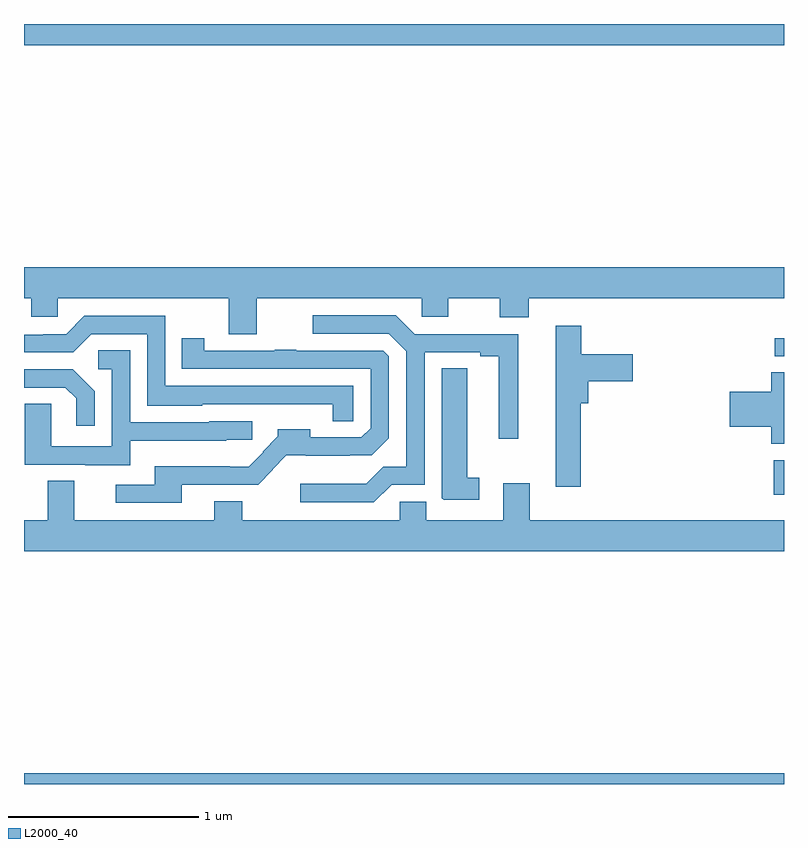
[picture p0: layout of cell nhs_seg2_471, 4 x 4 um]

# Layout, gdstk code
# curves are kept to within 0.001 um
import gdstk
lib = gdstk.Library(unit=1e-6, precision=1e-09)
def R(c, l, rs):  # rectangles x0, y0, x1, y1
    for r in rs: c.add(gdstk.rectangle(r[:2], r[2:], *l))
def P(c, l, *ps):  # polygons
    for p in ps: c.add(gdstk.Polygon(p, *l))
L2000_40 = (2000, 40)

nhs_seg2_471 = lib.new_cell('nhs_seg2_471')
R(nhs_seg2_471, L2000_40, [(135,591.8,139,591.856), (138.947,593.322,139,593.505), (138.951,594.051,139,594.147), (135,595.688,139,595.8)])
P(nhs_seg2_471, L2000_40, [(136.225,594.356),(137.094,594.356),(137.094,594.258),(137.233,594.258),(137.233,594.356),(137.504,594.356),(137.504,594.257),(137.657,594.257),(137.657,594.356),(139,594.356),(139,594.52),(135,594.52),(135,594.356),(135.039,594.356),(135.039,594.258),(135.177,594.258),(135.177,594.356),(136.078,594.356),(136.078,594.166),(136.225,594.166)],
  [(136.935,593.376),(137.109,593.376),(137.109,594.072),(137.402,594.072),(137.402,594.052),(137.498,594.052),(137.498,593.616),(137.602,593.616),(137.602,594.168),(137.056,594.168),(136.957,594.267),(136.521,594.267),(136.521,594.171),(136.92,594.171),(137.013,594.078),(137.013,593.471),(136.892,593.471),(136.801,593.38),(136.455,593.38),(136.455,593.283),(136.842,593.283)],
  [(136.734,593.895),(135.744,593.895),(135.744,594.264),(135.318,594.264),(135.222,594.168),(135.102,594.168),(135.102,594.165),(135,594.165),(135,594.072),(135.258,594.072),(135.354,594.168),(135.648,594.168),(135.648,593.792),(135.939,593.792),(135.939,593.799),(136.626,593.798),(136.626,593.71),(136.734,593.71)],
  [(137.93,593.804),(137.969,593.804),(137.969,593.921),(138.205,593.921),(138.205,594.063),(137.933,594.063),(137.933,594.211),(137.798,594.211),(137.798,593.364),(137.93,593.364)],
  [(135.829,593.376),(136.233,593.376),(136.309,593.453),(136.307,593.455),(136.381,593.529),(136.715,593.528),(136.715,593.53),(136.831,593.53),(136.92,593.619),(136.92,594.051),(136.89,594.081),(136.433,594.081),(136.433,594.086),(136.321,594.086),(136.321,594.081),(135.948,594.081),(135.948,594.145),(135.829,594.145),(135.829,593.985),(136.824,593.985),(136.824,593.673),(136.776,593.625),(136.507,593.625),(136.507,593.668),(136.336,593.668),(136.336,593.629),(136.257,593.55),(136.26,593.547),(136.184,593.471),(136.082,593.471),(136.082,593.473),(135.689,593.473),(135.689,593.376),(135.483,593.376),(135.483,593.28),(135.829,593.28)],
  [(135.559,593.606),(136.065,593.606),(136.065,593.613),(136.2,593.613),(136.2,593.709),(135.975,593.709),(135.975,593.703),(135.558,593.703),(135.558,594.083),(135.39,594.083),(135.39,593.982),(135.462,593.982),(135.462,593.577),(135.144,593.577),(135.144,593.801),(135.005,593.801),(135.005,593.481),(135.323,593.481),(135.323,593.477),(135.559,593.477)],
  [(137.395,593.411),(137.332,593.411),(137.332,593.987),(137.198,593.987),(137.198,593.305),(137.208,593.295),(137.395,593.295)],
  [(135.372,593.866),(135.256,593.982),(135,593.982),(135,593.886),(135.218,593.886),(135.275,593.829),(135.275,593.685),(135.372,593.685)],
  [(139,593.966),(138.932,593.966),(138.932,593.864),(138.714,593.864),(138.714,593.681),(138.932,593.681),(138.932,593.59),(139,593.59)],
  [(139,593.188),(137.662,593.188),(137.662,593.383),(137.522,593.383),(137.522,593.188),(137.116,593.188),(137.116,593.286),(136.977,593.286),(136.977,593.188),(136.149,593.188),(136.149,593.287),(136.001,593.287),(136.001,593.188),(135.265,593.188),(135.265,593.396),(135.125,593.396),(135.125,593.188),(135,593.188),(135,593.024),(139,593.024)])

lib.write_gds('nhs_seg2_471.gds')
